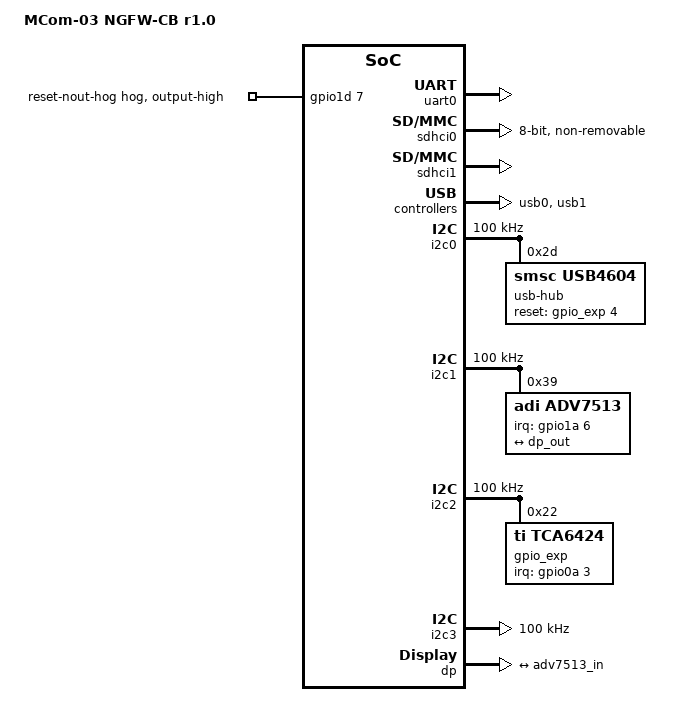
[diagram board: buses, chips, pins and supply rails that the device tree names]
// SPDX-License-Identifier: GPL-2.0+
/*
 * Copyright 2021 RnD Center "ELVEES", JSC
 */

/dts-v1/;

#include <dt-bindings/gpio/gpio.h>

#include "mcom03.dtsi"

/ {	model = "MCom-03 NGFW-CB r1.0";
	compatible = "elvees,mcom03-ngfw-cb-r1.0";

	aliases {
		serial0 = &uart0;
	};

	chosen {
		stdout-path = "serial0:115200n8";
		bootargs = "earlycon console=ttyS0,115200";
	};

	reserved_memory: reserved-memory {
		#address-cells = <2>;
		#size-cells = <2>;
		ranges;

		cpu_reserved: cpu_reserved@C0000000 {
			reg = <0 0xC0080000 0 0x1000>;
			no-map;
		};
	};
};

&uart0 {
	status = "okay";
	clock-frequency = <27000000>;
};

&sdhci0 {
	status = "okay";

	/* Unstable at 25 MHz on NGFW CB */
	max-frequency = <12000000>;
	non-removable;
	bus-width = <8>;

	/* HS, SDR50, SDR104 and DDR50 are not supported yet */
	sdhci-caps-mask = <0x7 0x200000>;
};

&sdhci1 {
	status = "okay";

	/* Unstable at 25 MHz on NGFW CB */
	max-frequency = <12000000>;

	/* Disable High Speed support
	 * Disable 1.8V support
	 * Disable SDR50, SDR104 and DDR50 support
	 */
	sdhci-caps-mask = <0x7 0x4200000>;
	sdhci-caps = <0x0 0x0>;
};

&usb0 {
	status = "okay";
};

&usb1 {
	status = "okay";
};

&gpio1d {
	/* RESET_nOUT signal should be high for LAN, WAN, PEX, USB HUB) */
	reset-nout-hog {
		gpio-hog;
		gpios = <7 GPIO_ACTIVE_HIGH>;
		output-high;
	};
};

&i2c0 {
	/* USB HUB USB5807 supports only 100kHz */
	clock-frequency = <100000>;
	status = "okay";

	usb-hub@2d {
		/* USB HUB USB5807 is supported by driver usb4604 */
		compatible = "smsc,usb4604";
		reg = <0x2d>;
		reset-gpios = <&gpio_exp 4 GPIO_ACTIVE_HIGH>;
		initial-mode = <1>;
	};
};

&i2c1 {
	/* Not all devices are checked to 400kHz support */
	clock-frequency = <100000>;
	status = "okay";

	adv7513: hdmi@39 {
		compatible = "adi,adv7513";
		reg = <0x39>, <0x3f>;
		reg-names = "main", "edid";
		interrupt-parent = <&gpio1a>;
		interrupts = <6 IRQ_TYPE_EDGE_FALLING>;
		adi,input-depth = <8>;
		adi,input-colorspace = "rgb";
		adi,input-clock = "1x";
		#address-cells = <1>;
		#size-cells = <0>;

		port@0 {
			reg = <0>;
			adv7513_in: endpoint {
				remote-endpoint = <&dp_out>;
			};
		};
	};
};

&i2c2 {
	/* Not all devices are checked to 400kHz support */
	clock-frequency = <100000>;
	status = "okay";

	gpio_exp: gpio-expander@22 {
		compatible = "ti,tca6424";
		reg = <0x22>;
		gpio-controller;
		#gpio-cells = <2>;
		interrupts-extended = <&gpio0a 3 IRQ_TYPE_EDGE_FALLING>;
		interrupt-controller;
		#interrupt-cells = <2>;
		gpio-line-names =
			"WAN_nRST", "LAN_nRST", "WAN_nPERST", "LAN_nPERST",
			"USB_HUB_nRST", "PEX_THRM_ALERT", "PE_X4_nRST",
			"PE_X4_nPRSNT", "WIFI_nPERST", "WIFI_nDISABLE_1",
			"WIFI_nDISABLE_2", "mPCIE_PERST", "mPCIE_WDISABLE",
			"5G_RESET", "5G_nPOWER_OFF", "5G_nPERSTR",
			"5G_nW_DISABLE1", "5G_nW_DISABLE1", "EN_3V3_WIFI",
			"EN_3V3_mPCIe", "EN_3V8_5G", "EN_3V3_SATA", "EN_5V_USB",
			"USER_LED";
		usb-hub-hog {
			gpio-hog;
			gpios = <22 GPIO_ACTIVE_HIGH>;
			output-high;
		};
		wan-hog {
			gpio-hog;
			gpios = <0 GPIO_ACTIVE_HIGH>, <2 GPIO_ACTIVE_HIGH>;
			output-high;
		};
		lan-hog {
			gpio-hog;
			gpios = <1 GPIO_ACTIVE_HIGH>, <3 GPIO_ACTIVE_HIGH>;
			output-high;
		};
		pe-x4-hog {
			gpio-hog;
			gpios = <6 GPIO_ACTIVE_HIGH>;
			output-high;
		};
		wifi-hog {
			gpio-hog;
			gpios = <8 GPIO_ACTIVE_HIGH>, <9 GPIO_ACTIVE_HIGH>,
				<10 GPIO_ACTIVE_HIGH>, <18 GPIO_ACTIVE_HIGH>;
			output-high;
		};
		mpcie-hog {
			gpio-hog;
			gpios = <11 GPIO_ACTIVE_HIGH>, <12 GPIO_ACTIVE_HIGH>,
				<19 GPIO_ACTIVE_HIGH>;
			output-high;
		};
		5g-hog {
			gpio-hog;
			gpios = <13 GPIO_ACTIVE_LOW>, <14 GPIO_ACTIVE_HIGH>,
				<15 GPIO_ACTIVE_HIGH>, <16 GPIO_ACTIVE_HIGH>,
				<17 GPIO_ACTIVE_HIGH>, <20 GPIO_ACTIVE_HIGH>;
			output-high;
		};
	};
};

&i2c3 {
	/* Not all devices are checked to 400kHz support */
	clock-frequency = <100000>;
	status = "okay";
};

&dp {
	status = "okay";
	port {
		dp_out: endpoint {
			remote-endpoint = <&adv7513_in>;
		};
	};
};
